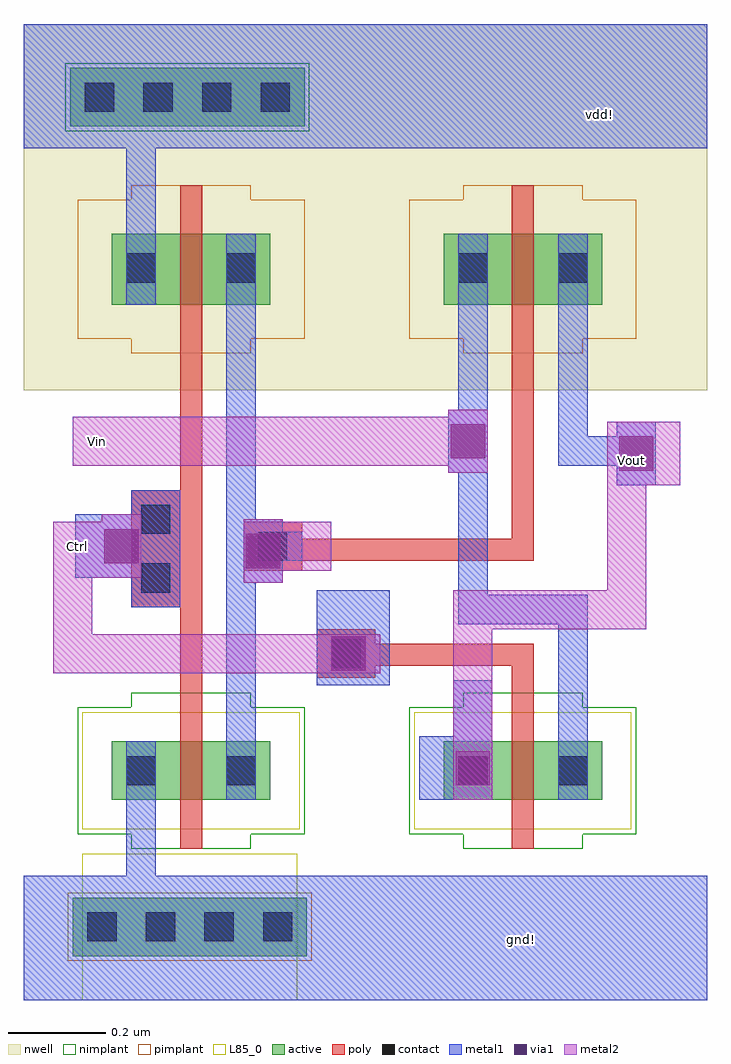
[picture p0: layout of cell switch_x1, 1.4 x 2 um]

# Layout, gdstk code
from math import pi, radians
import gdstk
lib = gdstk.Library(unit=1e-6, precision=5e-10)
def R(c, l, rs):  # rectangles x0, y0, x1, y1
    for r in rs: c.add(gdstk.rectangle(r[:2], r[2:], *l))
def A(c, l, x, y, w, h, nx, ny, dx, dy):  # array of equal rectangles
    R(c, l, [(x+i*dx, y+j*dy, x+i*dx+w, y+j*dy+h) for i in range(nx) for j in range(ny)])
active = (1, 0)
nwell = (2, 0)
poly = (3, 0)
nimplant = (4, 0)
pimplant = (5, 0)
contact = (6, 0)
metal1 = (7, 0)
via1 = (8, 0)
metal2 = (9, 0)
L85_0 = (85, 0)

pmos1v_cdns_762798133270 = lib.new_cell('pmos1v_CDNS_762798133270')
R(pmos1v_cdns_762798133270, active, [(-0.14,0,0,0.145), (0,0,0.045,0.145), (0.045,0,0.185,0.145)])
R(pmos1v_cdns_762798133270, nwell, [(-0.2,-0.06,0.245,0.205)])
R(pmos1v_cdns_762798133270, poly, [(0,-0.1,0.045,-0.05), (0,-0.05,0.045,0), (0,0,0.045,0.145), (0,0.145,0.045,0.195), (0,0.195,0.045,0.245)])
R(pmos1v_cdns_762798133270, pimplant, [(-0.1,-0.1,0.145,0.245), (-0.21,-0.07,0.255,0.215)])
R(pmos1v_cdns_762798133270, contact, [(-0.11,0.045,-0.05,0.105), (0.095,0.045,0.155,0.105)])
R(pmos1v_cdns_762798133270, metal1, [(-0.11,0,-0.05,0.145), (0.095,0,0.155,0.145)])

nmos1v_cdns_762798133271 = lib.new_cell('nmos1v_CDNS_762798133271')
R(nmos1v_cdns_762798133271, active, [(-0.14,0,0,0.12), (0,0,0.045,0.12), (0.045,0,0.185,0.12)])
R(nmos1v_cdns_762798133271, poly, [(0,-0.1,0.045,-0.05), (0,-0.05,0.045,0), (0,0,0.045,0.12), (0,0.12,0.045,0.17), (0,0.17,0.045,0.22)])
R(nmos1v_cdns_762798133271, nimplant, [(-0.1,-0.1,0.145,0.22), (-0.21,-0.07,0.255,0.19)])
R(nmos1v_cdns_762798133271, contact, [(-0.11,0.03,-0.05,0.09), (0.095,0.03,0.155,0.09)])
R(nmos1v_cdns_762798133271, metal1, [(-0.11,0,-0.05,0.12), (0.095,0,0.155,0.12)])
R(nmos1v_cdns_762798133271, L85_0, [(-0.2,-0.06,0.245,0.18)])

m1_psub_cdns_76279813327 = lib.new_cell('M1_PSUB_CDNS_762798133272')
R(m1_psub_cdns_76279813327, active, [(-0.24,-0.06,0.24,0.06)])
R(m1_psub_cdns_76279813327, pimplant, [(-0.25,-0.07,0.25,0.07)])
A(m1_psub_cdns_76279813327, contact, -0.21, -0.03, 0.06, 0.06, 4, 1, 0.12, 0)
R(m1_psub_cdns_76279813327, metal1, [(-0.21,-0.06,0.21,0.06)])
R(m1_psub_cdns_76279813327, L85_0, [(-0.22,-0.15,0.22,0.15)])

m1_po_cdns_762798133273 = lib.new_cell('M1_PO_CDNS_762798133273')
R(m1_po_cdns_762798133273, poly, [(-0.05,-0.12,0.05,0.12)])
R(m1_po_cdns_762798133273, contact, [(-0.03,-0.09,0.03,-0.03), (-0.03,0.03,0.03,0.09)])
R(m1_po_cdns_762798133273, metal1, [(-0.05,-0.12,0.05,0.12)])

m2_m1_cdns_762798133271 = lib.new_cell('M2_M1_CDNS_762798133271')
R(m2_m1_cdns_762798133271, metal1, [(-0.04,-0.065,0.04,0.065)])
R(m2_m1_cdns_762798133271, via1, [(-0.035,-0.035,0.035,0.035)])
R(m2_m1_cdns_762798133271, metal2, [(-0.04,-0.065,0.04,0.065)])

m2_m1_cdns_762798133274 = lib.new_cell('M2_M1_CDNS_762798133274')
R(m2_m1_cdns_762798133274, metal1, [(-0.095,-0.065,0.095,0.065)])
R(m2_m1_cdns_762798133274, via1, [(-0.035,-0.035,0.035,0.035)])
R(m2_m1_cdns_762798133274, metal2, [(-0.04,-0.065,0.04,0.065)])

m1_nwell_cdns_7627981332 = lib.new_cell('M1_NWELL_CDNS_762798133275')
R(m1_nwell_cdns_7627981332, active, [(-0.24,-0.06,0.24,0.06)])
R(m1_nwell_cdns_7627981332, nwell, [(-0.27,-0.15,0.27,0.15)])
R(m1_nwell_cdns_7627981332, nimplant, [(-0.25,-0.07,0.25,0.07)])
A(m1_nwell_cdns_7627981332, contact, -0.21, -0.03, 0.06, 0.06, 4, 1, 0.12, 0)
R(m1_nwell_cdns_7627981332, metal1, [(-0.21,-0.06,0.21,0.06)])

inv_x1 = lib.new_cell('inv_x1')
R(inv_x1, nwell, [(0,1.25,0.675,2)])
R(inv_x1, metal1, [(0,0,0.675,0.255), (0.275,0.035,0.375,0.135), (0,1.745,0.675,2), (0.3,1.895,0.4,1.995)])
R(inv_x1, metal2, [(0.06,0.88,0.16,0.98), (0.53,0.88,0.63,0.98)])
inv_x1.add(gdstk.FlexPath([(0.3425,1.325),(0.3425,0.63)], 0.045, ends="flush", simple_path=True, layer=3, datatype=0))  # poly
inv_x1.add(gdstk.FlexPath([(0.24,1.545),(0.24,1.93)], 0.06, ends=(0, 0.07), simple_path=True, layer=7, datatype=0))  # metal1
inv_x1.add(gdstk.FlexPath([(0.24,0.41),(0.24,0.07)], 0.06, ends=(0, 0.07), simple_path=True, layer=7, datatype=0))  # metal1
inv_x1.add(gdstk.FlexPath([(0.445,1.425),(0.445,0.53)], 0.06, ends="flush", simple_path=True, layer=7, datatype=0))  # metal1
inv_x1.add(gdstk.Reference(nmos1v_cdns_762798133271, (0.32,0.41)))
inv_x1.add(gdstk.Reference(pmos1v_cdns_762798133270, (0.32,1.425)))
inv_x1.add(gdstk.Reference(m1_psub_cdns_76279813327, (0.34,0.15)))
inv_x1.add(gdstk.Reference(m1_po_cdns_762798133273, (0.27,0.925)))
inv_x1.add(gdstk.Reference(m2_m1_cdns_762798133271, (0.49,0.92)))
inv_x1.add(gdstk.Reference(m2_m1_cdns_762798133274, (0.2,0.93)))
inv_x1.add(gdstk.Reference(m1_nwell_cdns_7627981332, (0.335,1.85)))
inv_x1.add(gdstk.Label('vdd!', (0.35,1.945), layer=7, texttype=0))
inv_x1.add(gdstk.Label('gnd!', (0.325,0.085), layer=7, texttype=0))
inv_x1.add(gdstk.Label('Vin', (0.11,0.93), layer=9, texttype=0))
inv_x1.add(gdstk.Label('Vout', (0.58,0.93), layer=9, texttype=0))

m1_po_cdns_762798133270 = lib.new_cell('M1_PO_CDNS_762798133270')
R(m1_po_cdns_762798133270, poly, [(-0.05,-0.06,0.05,0.06)])
R(m1_po_cdns_762798133270, contact, [(-0.03,-0.03,0.03,0.03)])
R(m1_po_cdns_762798133270, metal1, [(-0.03,-0.06,0.03,0.06)])

switch_x1 = lib.new_cell('switch_x1')
R(switch_x1, nwell, [(0.675,1.25,1.4,2)])
R(switch_x1, metal1, [(0.66,0,1.4,0.255), (0.97,0.075,1.07,0.175), (0.81,0.41,0.88,0.54), (0.88,0.54,0.96,0.655), (0.6,0.645,0.75,0.775), (0.6,0.775,0.75,0.84), (0.675,1.745,1.4,2), (1.13,1.765,1.23,1.865)])
R(switch_x1, metal2, [(0.14,0.865,0.16,0.88), (0.06,0.88,0.16,0.98), (1.195,1.055,1.295,1.155), (1.295,1.055,1.345,1.185), (0.1,1.095,0.2,1.195), (1.195,1.155,1.215,1.185)])
switch_x1.add(gdstk.FlexPath([(1.0225,0.7075),(0.645,0.7075)], 0.045, ends=(0.0225, 0), simple_path=True, layer=3, datatype=0))  # poly
switch_x1.add(gdstk.FlexPath([(1.0225,0.63),(1.0225,0.7075)], 0.045, ends=(0, 0.0225), simple_path=True, layer=3, datatype=0))  # poly
switch_x1.add(gdstk.FlexPath([(1.0225,0.9225),(0.45,0.9225)], 0.045, ends=(0.0225, 0), simple_path=True, layer=3, datatype=0))  # poly
switch_x1.add(gdstk.FlexPath([(1.0225,1.325),(1.0225,0.9225)], 0.045, ends=(0, 0.0225), simple_path=True, layer=3, datatype=0))  # poly
switch_x1.add(gdstk.FlexPath([(1.125,1.125),(1.285,1.125)], 0.06, ends=(0.03, 0), simple_path=True, layer=7, datatype=0))  # metal1
switch_x1.add(gdstk.FlexPath([(1.125,1.425),(1.125,1.125)], 0.06, ends=(0, 0.03), simple_path=True, layer=7, datatype=0))  # metal1
switch_x1.add(gdstk.FlexPath([(1.125,0.8),(1.125,0.53)], 0.06, ends=(0.03, 0), simple_path=True, layer=7, datatype=0))  # metal1
switch_x1.add(gdstk.FlexPath([(0.92,0.8),(1.125,0.8)], 0.06, ends="extended", simple_path=True, layer=7, datatype=0))  # metal1
switch_x1.add(gdstk.FlexPath([(0.92,1.425),(0.92,0.8)], 0.06, ends=(0, 0.03), simple_path=True, layer=7, datatype=0))  # metal1
switch_x1.add(gdstk.FlexPath([(1.235,0.8),(1.235,1.055)], 0.08, ends=(0.04, 0), simple_path=True, layer=9, datatype=0))  # metal2
switch_x1.add(gdstk.FlexPath([(0.92,0.8),(1.235,0.8)], 0.08, ends="extended", simple_path=True, layer=9, datatype=0))  # metal2
switch_x1.add(gdstk.FlexPath([(0.92,0.475),(0.92,0.8)], 0.08, ends=(0, 0.04), simple_path=True, layer=9, datatype=0))  # metal2
switch_x1.add(gdstk.FlexPath([(0.2,1.145),(0.95,1.145)], 0.1, ends="flush", simple_path=True, layer=9, datatype=0))  # metal2
switch_x1.add(gdstk.FlexPath([(0.1,0.71),(0.1,0.88)], 0.08, ends=(0.04, 0), simple_path=True, layer=9, datatype=0))  # metal2
switch_x1.add(gdstk.FlexPath([(0.665,0.71),(0.1,0.71)], 0.08, ends=(0, 0.04), simple_path=True, layer=9, datatype=0))  # metal2
switch_x1.add(gdstk.Reference(pmos1v_cdns_762798133270, (1,1.425)))
switch_x1.add(gdstk.Reference(nmos1v_cdns_762798133271, (1,0.41)))
switch_x1.add(gdstk.Reference(inv_x1, (0,0)))
switch_x1.add(gdstk.Reference(m1_po_cdns_762798133270, (0.66,0.71), rotation=pi/2))
switch_x1.add(gdstk.Reference(m1_po_cdns_762798133270, (0.51,0.93), rotation=pi/2))
switch_x1.add(gdstk.Reference(m2_m1_cdns_762798133271, (0.92,0.475)))
switch_x1.add(gdstk.Reference(m2_m1_cdns_762798133271, (1.255,1.12)))
switch_x1.add(gdstk.Reference(m2_m1_cdns_762798133271, (0.91,1.145)))
switch_x1.add(gdstk.Reference(m2_m1_cdns_762798133271, (0.665,0.71), rotation=pi/2))
switch_x1.add(gdstk.Label('vdd!', (1.18,1.815), layer=7, texttype=0))
switch_x1.add(gdstk.Label('gnd!', (1.02,0.125), layer=7, texttype=0))
switch_x1.add(gdstk.Label('Ctrl', (0.11,0.93), layer=9, texttype=0))
switch_x1.add(gdstk.Label('Vout', (1.245,1.105), layer=9, texttype=0))
switch_x1.add(gdstk.Label('Vin', (0.15,1.145), layer=9, texttype=0))

lib.write_gds('switch_x1.gds')
